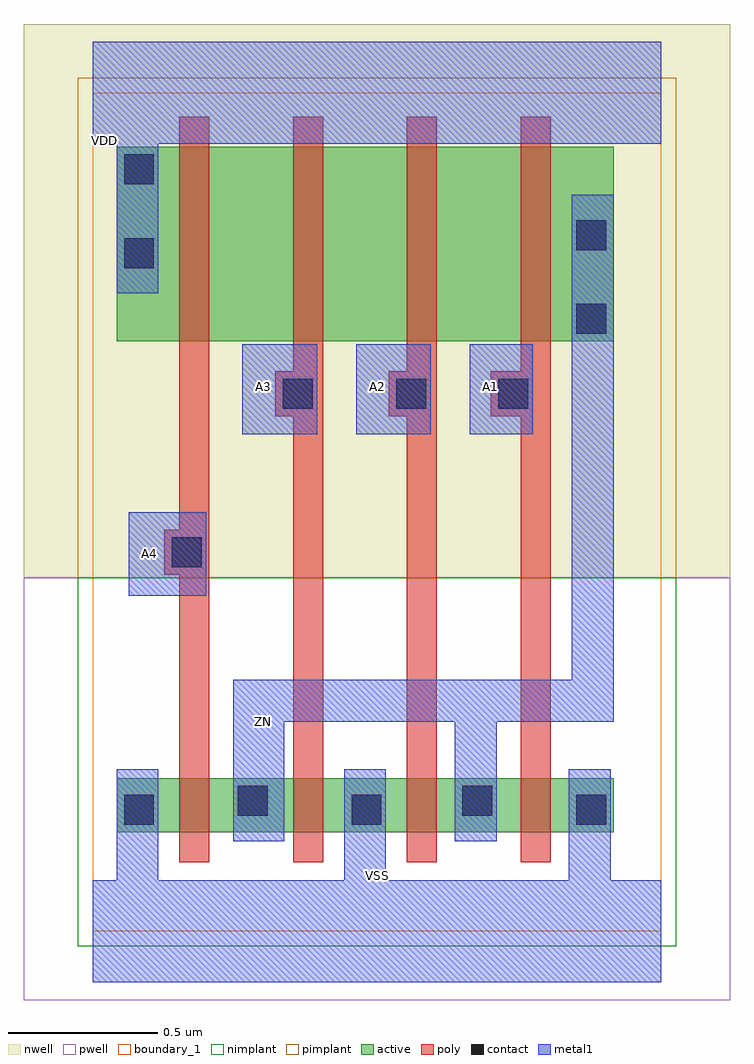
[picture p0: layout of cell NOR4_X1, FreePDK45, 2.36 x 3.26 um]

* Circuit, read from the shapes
.subckt NOR4_X1 A1 A2 A3 A4 VDD VSS ZN
M1 ZN A4 VSS VSUBS nfet w=0.18u l=0.1u
M2 VSS A3 ZN VSUBS nfet w=0.18u l=0.1u
M3 ZN A2 VSS VSUBS nfet w=0.18u l=0.1u
M4 VSS A1 ZN VSUBS nfet w=0.18u l=0.1u
M5 n1 A4 VDD n2 pfet w=0.65u l=0.1u
M6 n3 A3 n1 n2 pfet w=0.65u l=0.1u
M7 n4 A2 n3 n2 pfet w=0.65u l=0.1u
M8 ZN A1 n4 n2 pfet w=0.65u l=0.1u
.ends

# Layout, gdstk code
import gdstk
lib = gdstk.Library(unit=1e-6, precision=1e-09)
def R(c, l, rs):  # rectangles x0, y0, x1, y1
    for r in rs: c.add(gdstk.rectangle(r[:2], r[2:], *l))
def P(c, l, *ps):  # polygons
    for p in ps: c.add(gdstk.Polygon(p, *l))
active = (1, 0)
pwell = (2, 0)
nwell = (3, 0)
nimplant = (4, 0)
pimplant = (5, 0)
poly = (9, 0)
contact = (10, 0)
metal1 = (11, 0)
boundary_1 = (235, 1)

nor4_x1 = lib.new_cell('NOR4_X1')
R(nor4_x1, active, [(0.08,0.33,1.74,0.51), (0.08,1.97,1.74,2.62)])
R(nor4_x1, pwell, [(-0.23,-0.23,2.13,1.18)])
R(nor4_x1, nwell, [(-0.23,1.18,2.13,3.03)])
R(nor4_x1, nimplant, [(-0.05,-0.05,1.95,1.18)])
R(nor4_x1, pimplant, [(-0.05,1.18,1.95,2.85)])
P(nor4_x1, poly, [(1.33,1.72),(1.43,1.72),(1.43,0.23),(1.53,0.23),(1.53,2.72),(1.43,2.72),(1.43,1.87),(1.33,1.87)],
  [(0.99,1.72),(1.05,1.72),(1.05,0.23),(1.15,0.23),(1.15,2.72),(1.05,2.72),(1.05,1.87),(0.99,1.87)],
  [(0.61,1.72),(0.67,1.72),(0.67,0.23),(0.77,0.23),(0.77,2.72),(0.67,2.72),(0.67,1.87),(0.61,1.87)],
  [(0.24,1.19),(0.29,1.19),(0.29,0.23),(0.39,0.23),(0.39,2.72),(0.29,2.72),(0.29,1.34),(0.24,1.34)])
R(nor4_x1, contact, [(0.105,0.355,0.205,0.455), (0.865,0.355,0.965,0.455), (1.615,0.355,1.715,0.455), (0.485,0.385,0.585,0.485), (1.235,0.385,1.335,0.485), (0.265,1.215,0.365,1.315), (0.635,1.745,0.735,1.845), (1.015,1.745,1.115,1.845), (1.355,1.745,1.455,1.845), (1.615,1.995,1.715,2.095), (0.105,2.215,0.205,2.315), (1.615,2.275,1.715,2.375), (0.105,2.495,0.205,2.595)])
R(nor4_x1, metal1, [(0.12,1.12,0.38,1.4), (0.12,1.12,0.38,1.4), (0.5,1.66,0.75,1.96), (0.5,1.66,0.75,1.96), (0.88,1.66,1.13,1.96), (0.88,1.66,1.13,1.96), (1.26,1.66,1.47,1.96), (1.26,1.66,1.47,1.96)])
P(nor4_x1, metal1, [(0.47,0.3),(0.64,0.3),(0.64,0.7),(1.21,0.7),(1.21,0.3),(1.35,0.3),(1.35,0.7),(1.74,0.7),(1.74,2.46),(1.6,2.46),(1.6,0.84),(0.47,0.84)],
  [(0,-0.17),(1.9,-0.17),(1.9,0.17),(1.73,0.17),(1.73,0.54),(1.59,0.54),(1.59,0.17),(0.98,0.17),(0.98,0.54),(0.84,0.54),(0.84,0.17),(0.22,0.17),(0.22,0.54),(0.08,0.54),(0.08,0.17),(0,0.17)],
  [(0,2.63),(0.08,2.63),(0.08,2.13),(0.22,2.13),(0.22,2.63),(1.9,2.63),(1.9,2.97),(0,2.97)],
  [(0,2.63),(0.08,2.63),(0.08,2.13),(0.22,2.13),(0.22,2.63),(1.9,2.63),(1.9,2.97),(0,2.97)],
  [(0,-0.17),(1.9,-0.17),(1.9,0.17),(1.73,0.17),(1.73,0.54),(1.59,0.54),(1.59,0.17),(0.98,0.17),(0.98,0.54),(0.84,0.54),(0.84,0.17),(0.22,0.17),(0.22,0.54),(0.08,0.54),(0.08,0.17),(0,0.17)],
  [(0.47,0.3),(0.64,0.3),(0.64,0.7),(1.21,0.7),(1.21,0.3),(1.35,0.3),(1.35,0.7),(1.74,0.7),(1.74,2.46),(1.6,2.46),(1.6,0.84),(0.47,0.84)])
R(nor4_x1, boundary_1, [(0,0,1.9,2.8)])
nor4_x1.add(gdstk.Label('ZN', (0.57,0.7), layer=11, texttype=0))
nor4_x1.add(gdstk.Label('VSS', (0.95,0.185), layer=11, texttype=0))
nor4_x1.add(gdstk.Label('VDD', (0.04,2.64), layer=11, texttype=0))
nor4_x1.add(gdstk.Label('A4', (0.19,1.26), layer=11, texttype=0))
nor4_x1.add(gdstk.Label('A3', (0.57,1.82), layer=11, texttype=0))
nor4_x1.add(gdstk.Label('A2', (0.95,1.82), layer=11, texttype=0))
nor4_x1.add(gdstk.Label('A1', (1.33,1.82), layer=11, texttype=0))

lib.write_gds('NOR4_X1.gds')
